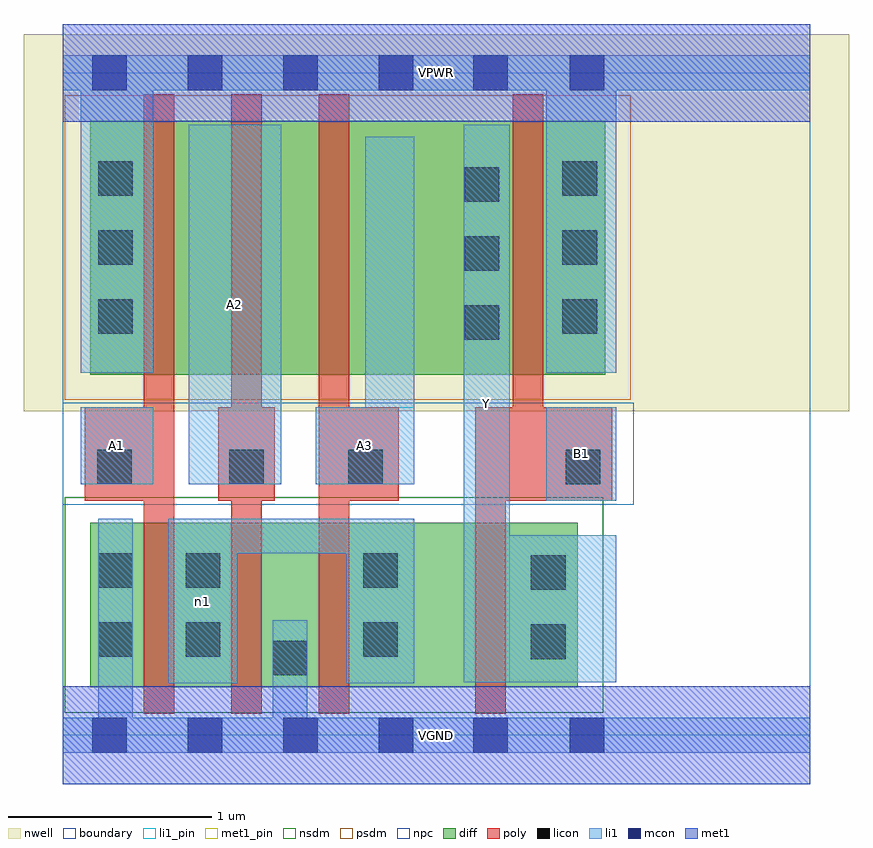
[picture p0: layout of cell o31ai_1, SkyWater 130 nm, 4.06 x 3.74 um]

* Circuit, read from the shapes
.subckt o31ai_1 A1 A2 A3 B1 VGND VPWR Y n1
XM1 n1 A1 VGND VSUBS sky130_fd_pr__nfet_01v8 w=0.81 l=0.15
XM2 VGND A2 n1 VSUBS sky130_fd_pr__nfet_01v8 w=0.81 l=0.15
XM3 n1 A3 VGND VSUBS sky130_fd_pr__nfet_01v8 w=0.81 l=0.15
XM4 Y B1 n1 VSUBS sky130_fd_pr__nfet_01v8 w=0.81 l=0.15
XM5 n2 A1 VPWR n3 sky130_fd_pr__pfet_01v8 w=1.25 l=0.15
XM6 n4 A2 n2 n3 sky130_fd_pr__pfet_01v8 w=1.25 l=0.15
XM7 Y A3 n4 n3 sky130_fd_pr__pfet_01v8 w=1.25 l=0.15
XM8 VPWR B1 Y n3 sky130_fd_pr__pfet_01v8 w=1.25 l=0.15
.ends

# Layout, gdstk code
import gdstk
lib = gdstk.Library(unit=1e-6, precision=1e-09)
def R(c, l, rs):  # rectangles x0, y0, x1, y1
    for r in rs: c.add(gdstk.rectangle(r[:2], r[2:], *l))
def A(c, l, x, y, w, h, nx, ny, dx, dy):  # array of equal rectangles
    R(c, l, [(x+i*dx, y+j*dy, x+i*dx+w, y+j*dy+h) for i in range(nx) for j in range(ny)])
nwell = (64, 20)
diff = (65, 20)
poly = (66, 20)
licon = (66, 44)
li1_pin = (67, 16)
li1 = (67, 20)
mcon = (67, 44)
met1_pin = (68, 16)
met1 = (68, 20)
nsdm = (93, 44)
psdm = (94, 20)
npc = (95, 20)
boundary = (235, 4)

o31ai_1 = lib.new_cell('o31ai_1')
R(o31ai_1, nwell, [(-0.19,1.595,3.87,3.45), (0,1.595,3.68,3.45)])
R(o31ai_1, diff, [(0.135,0.235,2.535,1.045), (0.135,1.775,2.67,3.025)])
A(o31ai_1, poly, 0.4, 0.105, 0.15, 3.05, 3, 1, 0.43, 0)
R(o31ai_1, poly, [(2.03,0.105,2.18,1.615), (0.11,1.155,0.55,1.615), (0.765,1.155,1.045,1.615), (1.26,1.155,1.655,1.615), (2.03,1.155,2.705,1.615), (2.215,1.155,2.365,3.155)])
A(o31ai_1, licon, 1.98, 1.945, 0.17, 0.17, 1, 3, 0, 0.34)
A(o31ai_1, licon, 0.175, 1.975, 0.17, 0.17, 1, 3, 0, 0.34)
A(o31ai_1, licon, 2.46, 1.975, 0.17, 0.17, 1, 3, 0, 0.34)
R(o31ai_1, licon, [(1.035,0.295,1.205,0.465), (2.305,0.375,2.475,0.545), (0.175,0.385,0.345,0.555), (0.605,0.385,0.775,0.555), (1.48,0.385,1.65,0.555), (2.305,0.715,2.475,0.885), (0.175,0.725,0.345,0.895), (0.605,0.725,0.775,0.895), (1.48,0.725,1.65,0.895), (0.17,1.235,0.34,1.405), (0.82,1.235,0.99,1.405), (1.405,1.235,1.575,1.405), (2.475,1.235,2.645,1.405)])
R(o31ai_1, li1_pin, [(1.975,0.26,2.2,3.005), (2.38,1.155,2.725,1.615), (0.09,1.235,0.445,1.615), (0.62,1.235,1.075,3.005), (1.245,1.235,1.73,1.615)])
R(o31ai_1, li1, [(0,-0.085,3.68,0.085), (0.175,-0.085,0.345,1.065), (1.035,-0.085,1.205,0.565), (0.52,0.255,0.86,1.065), (1.395,0.255,1.73,1.065), (1.975,0.26,2.2,3.005), (1.975,0.26,2.725,0.985), (0.52,0.895,1.73,1.065), (2.38,1.155,2.725,1.615), (0.09,1.235,0.445,1.615), (0.62,1.235,1.075,3.005), (1.245,1.235,1.73,1.615), (1.49,1.235,1.73,2.945), (0.09,1.785,0.445,3.345), (2.38,1.785,2.725,3.345), (0,3.175,3.68,3.345)])
A(o31ai_1, mcon, 0.145, -0.085, 0.17, 0.17, 4, 2, 0.47, 3.26)
R(o31ai_1, mcon, [(2.02,-0.085,2.19,0.085), (2.495,-0.085,2.665,0.085), (2.02,3.175,2.19,3.345), (2.495,3.175,2.665,3.345)])
R(o31ai_1, met1_pin, [(0,-0.24,3.68,0.24), (0,3.02,3.68,3.5)])
R(o31ai_1, met1, [(0,-0.24,3.68,0.24), (0,3.02,3.68,3.5)])
R(o31ai_1, nsdm, [(0.01,0.11,2.66,1.17)])
R(o31ai_1, psdm, [(0.01,1.65,2.795,3.15)])
R(o31ai_1, npc, [(0,1.135,2.81,1.635)])
R(o31ai_1, boundary, [(0,0,3.68,3.26)])
o31ai_1.add(gdstk.Label('A1', (0.267,1.425), layer=67, texttype=5))
o31ai_1.add(gdstk.Label('A2', (0.847,2.12), layer=67, texttype=5))
o31ai_1.add(gdstk.Label('A3', (1.487,1.425), layer=67, texttype=5))
o31ai_1.add(gdstk.Label('B1', (2.552,1.385), layer=67, texttype=5))
o31ai_1.add(gdstk.Label('Y', (2.087,1.632), layer=67, texttype=5))
o31ai_1.add(gdstk.Label('n1', (0.69,0.66), layer=67, texttype=5))
o31ai_1.add(gdstk.Label('VPWR', (1.84,3.26), layer=68, texttype=5))
o31ai_1.add(gdstk.Label('VGND', (1.84,0), layer=68, texttype=5))
o31ai_1.add(gdstk.Label('A1', (0.267,1.425), layer=67, texttype=16))
o31ai_1.add(gdstk.Label('A2', (0.847,2.12), layer=67, texttype=16))
o31ai_1.add(gdstk.Label('A3', (1.487,1.425), layer=67, texttype=16))
o31ai_1.add(gdstk.Label('B1', (2.552,1.385), layer=67, texttype=16))
o31ai_1.add(gdstk.Label('Y', (2.087,1.632), layer=67, texttype=16))
o31ai_1.add(gdstk.Label('VPWR', (1.84,3.26), layer=68, texttype=16))
o31ai_1.add(gdstk.Label('VGND', (1.84,0), layer=68, texttype=16))

lib.write_gds('o31ai_1.gds')
